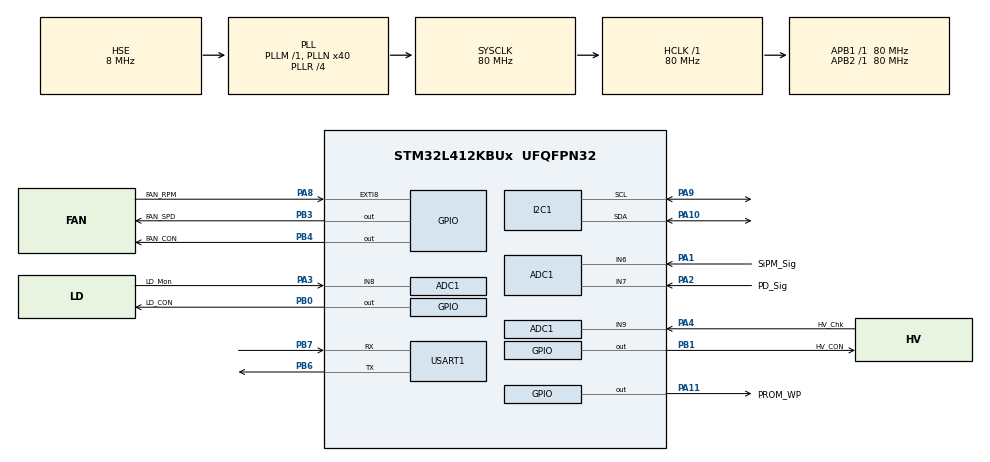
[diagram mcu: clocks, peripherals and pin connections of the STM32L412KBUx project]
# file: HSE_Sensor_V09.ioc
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ADC1.Channel-0\#ChannelRegularConversion=ADC_CHANNEL_6
ADC1.Channel-1\#ChannelRegularConversion=ADC_CHANNEL_7
ADC1.Channel-7\#ChannelRegularConversion=ADC_CHANNEL_8
ADC1.Channel-8\#ChannelRegularConversion=ADC_CHANNEL_9
ADC1.Channel-9\#ChannelRegularConversion=ADC_CHANNEL_TEMPSENSOR
ADC1.ClockPrescaler=ADC_CLOCK_ASYNC_DIV10
ADC1.ContinuousConvMode=ENABLE
ADC1.DMAContinuousRequests=ENABLE
ADC1.ExternalTrigConv=ADC_SOFTWARE_START
ADC1.NbrOfConversion=5
ADC1.NbrOfConversionFlag=1
ADC1.OffsetNumber-0\#ChannelRegularConversion=ADC_OFFSET_NONE
ADC1.OffsetNumber-1\#ChannelRegularConversion=ADC_OFFSET_NONE
ADC1.OffsetNumber-7\#ChannelRegularConversion=ADC_OFFSET_NONE
ADC1.OffsetNumber-8\#ChannelRegularConversion=ADC_OFFSET_NONE
ADC1.OffsetNumber-9\#ChannelRegularConversion=ADC_OFFSET_NONE
ADC1.Rank-0\#ChannelRegularConversion=1
ADC1.Rank-1\#ChannelRegularConversion=2
ADC1.Rank-7\#ChannelRegularConversion=3
ADC1.Rank-8\#ChannelRegularConversion=4
ADC1.Rank-9\#ChannelRegularConversion=5
ADC1.SamplingTime-0\#ChannelRegularConversion=ADC_SAMPLETIME_12CYCLES_5
ADC1.SamplingTime-1\#ChannelRegularConversion=ADC_SAMPLETIME_12CYCLES_5
ADC1.SamplingTime-7\#ChannelRegularConversion=ADC_SAMPLETIME_92CYCLES_5
ADC1.SamplingTime-8\#ChannelRegularConversion=ADC_SAMPLETIME_92CYCLES_5
ADC1.SamplingTime-9\#ChannelRegularConversion=ADC_SAMPLETIME_640CYCLES_5
ADC1.master=1
Dma.ADC1.0.Direction=DMA_PERIPH_TO_MEMORY
Dma.ADC1.0.Instance=DMA1_Channel1
Dma.ADC1.0.MemDataAlignment=DMA_MDATAALIGN_HALFWORD
Dma.ADC1.0.MemInc=DMA_MINC_ENABLE
Dma.ADC1.0.Mode=DMA_CIRCULAR
Dma.ADC1.0.PeriphDataAlignment=DMA_PDATAALIGN_HALFWORD
Dma.ADC1.0.PeriphInc=DMA_PINC_DISABLE
Dma.ADC1.0.Priority=DMA_PRIORITY_HIGH
Dma.Request0=ADC1
Dma.Request1=USART1_RX
Dma.USART1_RX.1.Direction=DMA_PERIPH_TO_MEMORY
Dma.USART1_RX.1.Instance=DMA1_Channel5
Dma.USART1_RX.1.MemDataAlignment=DMA_MDATAALIGN_BYTE
Dma.USART1_RX.1.MemInc=DMA_MINC_ENABLE
Dma.USART1_RX.1.Mode=DMA_CIRCULAR
Dma.USART1_RX.1.PeriphDataAlignment=DMA_PDATAALIGN_BYTE
Dma.USART1_RX.1.PeriphInc=DMA_PINC_DISABLE
Dma.USART1_RX.1.Priority=DMA_PRIORITY_LOW
I2C1.Timing=0x10D19CE4
Mcu.Family=STM32L4
Mcu.Name=STM32L412KBUx
Mcu.Package=UFQFPN32
NVIC.ADC1_2_IRQn=true\:0\:0\:false\:false\:true\:true\:true\:true
NVIC.DMA1_Channel1_IRQn=true\:0\:0\:false\:false\:true\:false\:true\:true
NVIC.DMA1_Channel5_IRQn=true\:0\:0\:false\:false\:true\:false\:true\:true
NVIC.EXTI9_5_IRQn=true\:0\:0\:false\:false\:true\:true\:true\:true
NVIC.PriorityGroup=NVIC_PRIORITYGROUP_4
NVIC.TIM2_IRQn=true\:0\:0\:false\:false\:true\:true\:true\:true
NVIC.USART1_IRQn=true\:0\:0\:false\:false\:true\:true\:true\:true
PA0-CK_IN.Mode=HSE-External-Clock-Source-for-LittleOrca
PA0-CK_IN.Signal=RCC_CK_IN
PA1.GPIO_Label=SiPM_Sig
PA1.Signal=ADCx_IN6
PA10.GPIO_Pu=GPIO_NOPULL
PA10.GPIO_Speed=GPIO_SPEED_FREQ_LOW
PA10.Mode=I2C
PA10.Signal=I2C1_SDA
PA11.GPIO_Label=PROM_WP
PA11.GPIO_PuPd=GPIO_PULLDOWN
PA11.Signal=GPIO_Output
PA13\ (JTMS/SWDIO).Mode=Serial_Wire
PA13\ (JTMS/SWDIO).Signal=SYS_JTMS-SWDIO
PA14\ (JTCK/SWCLK).Mode=Serial_Wire
PA14\ (JTCK/SWCLK).Signal=SYS_JTCK-SWCLK
PA2.GPIO_Label=PD_Sig
PA2.Signal=ADCx_IN7
PA3.GPIO_Label=LD_Mon
PA3.Signal=ADCx_IN8
PA4.GPIO_Label=HV_Chk
PA4.Signal=ADCx_IN9
PA8.GPIO_Label=FAN_RPM
PA8.GPIO_PuPd=GPIO_PULLUP
PA8.Signal=GPXTI8
PA9.GPIO_Pu=GPIO_NOPULL
PA9.GPIO_Speed=GPIO_SPEED_FREQ_LOW
PA9.Mode=I2C
PA9.Signal=I2C1_SCL
PB0.GPIO_Label=LD_CON
PB0.GPIO_PuPd=GPIO_PULLDOWN
PB0.Signal=GPIO_Output
PB1.GPIO_Label=HV_CON
PB1.GPIO_PuPd=GPIO_PULLDOWN
PB1.Signal=GPIO_Output
PB3\ (JTDO/TRACESWO).GPIO_Label=FAN_SPD
PB3\ (JTDO/TRACESWO).GPIO_PuPd=GPIO_PULLDOWN
PB3\ (JTDO/TRACESWO).Signal=GPIO_Output
PB4\ (NJTRST).GPIO_Label=FAN_CON
PB4\ (NJTRST).GPIO_PuPd=GPIO_PULLDOWN
PB4\ (NJTRST).Signal=GPIO_Output
PB6.GPIO_Speed=GPIO_SPEED_FREQ_MEDIUM
PB6.Mode=Asynchronous
PB6.Signal=USART1_TX
PB7.GPIO_Speed=GPIO_SPEED_FREQ_MEDIUM
PB7.Mode=Asynchronous
PB7.Signal=USART1_RX
ProjectManager.HeapSize=0x200
ProjectManager.StackSize=0x400
ProjectManager.TargetToolchain=STM32CubeIDE
RCC.ADCFreq_Value=80000000
RCC.AHBFreq_Value=80000000
RCC.APB1Freq_Value=80000000
RCC.APB1TimFreq_Value=80000000
RCC.APB2Freq_Value=80000000
RCC.APB2TimFreq_Value=80000000
RCC.CortexFreq_Value=80000000
RCC.HCLKFreq_Value=80000000
RCC.HSE_VALUE=8000000
RCC.HSI48_VALUE=48000000
RCC.HSI_VALUE=16000000
RCC.LSE_VALUE=32768
RCC.MSI_VALUE=4000000
RCC.PLLN=40
RCC.PLLR=RCC_PLLR_DIV4
RCC.PLLSourceVirtual=RCC_PLLSOURCE_HSE
RCC.SYSCLKFreq_VALUE=80000000
RCC.SYSCLKSource=RCC_SYSCLKSOURCE_PLLCLK
RCC.USBFreq_Value=4000000
RCC.VCOOutputFreq_Value=320000000
SH.ADCx_IN6.0=ADC1_IN6,IN6-Single-Ended
SH.ADCx_IN7.0=ADC1_IN7,IN7-Single-Ended
SH.ADCx_IN8.0=ADC1_IN8,IN8-Single-Ended
SH.ADCx_IN9.0=ADC1_IN9,IN9-Single-Ended
TIM2.AutoReloadPreload=TIM_AUTORELOAD_PRELOAD_DISABLE
TIM2.Period=100-1
TIM2.Prescaler=8000-1
TIM2.TIM_MasterOutputTrigger=TIM_TRGO_RESET
USART1.VirtualMode-Asynchronous=VM_ASYNC
VP_ADC1_TempSens_Input.Mode=IN-TempSens
VP_ADC1_Vref_Input.Mode=IN-Vrefint
VP_TIM2_VS_ClockSourceINT.Mode=Internal
board=custom

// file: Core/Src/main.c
/* USER CODE BEGIN Header */
/**
  ******************************************************************************
  * @file           : main.c
  * @brief          : Main program body
  ******************************************************************************
  * @attention
  *
  * Copyright (c) 2025 STMicroelectronics.
  * All rights reserved.
  *
  * This software is licensed under terms that can be found in the LICENSE file
  * in the root directory of this software component.
  * If no LICENSE file comes with this software, it is provided AS-IS.
  *
  ******************************************************************************
  */
/* USER CODE END Header */
#include "main.h"

/* USER CODE BEGIN Includes */
#include "Ext_IO.h"

#include "Const.h"
#include "G_Value.h"
#include "Config.h"
#include "Parameter.h"

#include "Uart.h"
#include "Fan.h"

#include "Process.h"
/* USER CODE END Includes */

/* USER CODE BEGIN PD */
volatile uint16_t Adc_Temp[16];
/* USER CODE END PD */

ADC_HandleTypeDef hadc1;
DMA_HandleTypeDef hdma_adc1;

I2C_HandleTypeDef hi2c1;

TIM_HandleTypeDef htim2;

UART_HandleTypeDef huart1;
DMA_HandleTypeDef hdma_usart1_rx;

/* USER CODE BEGIN PV */
uint8_t FlagFirmwareWROn = OFF;

/* USER CODE END PV */

void SystemClock_Config(void);
static void MX_GPIO_Init(void);
static void MX_DMA_Init(void);
static void MX_I2C1_Init(void);
static void MX_ADC1_Init(void);
static void MX_USART1_UART_Init(void);
static void MX_TIM2_Init(void);

/* USER CODE BEGIN 0 */
void HAL_GPIO_EXTI_Callback(uint16_t GPIO_Pin)
{
	if(GPIO_Pin == FAN_RPM_Pin)
	{
		tFan.RpmCurrCnt++;
	}
}

void HAL_UARTEx_RxEventCallback(UART_HandleTypeDef *huart, uint16_t Size)
{
	if (huart->Instance == USART1)
	{
/*
		tUartMsg.uOldPos = tUartMsg.uNewPos;

		if (tUartMsg.uOldPos+Size > MAX_RX_RING_BUFF_SIZE)
		{
			uint8_t DataToCopy = MAX_RX_BUFF_SIZE-tUartMsg.uOldPos;
			memcpy ((uint8_t *)tUartMsg.RingRxTemp + tUartMsg.uOldPos, tUartMsg.RxTemp, DataToCopy);

			tUartMsg.uOldPos  = 0;
			memcpy ((uint8_t *)tUartMsg.RingRxTemp, (uint8_t *)tUartMsg.RxTemp + DataToCopy, (Size - DataToCopy));
			tUartMsg.uNewPos = (Size - DataToCopy);
		}

		else
		{
			memcpy ((uint8_t *)tUartMsg.RingRxTemp + tUartMsg.uOldPos, tUartMsg.RxTemp, Size);
			tUartMsg.uNewPos = Size + tUartMsg.uOldPos;
		}
*/
		//memset(tUartMsg.RingRxTemp, 0, sizeof(tUartMsg.RingRxTemp));
		//tUartMsg.uOldPos = 0;
		//tUartMsg.uNewPos = 0;
		/* start the DMA again */
//		HAL_UARTEx_ReceiveToIdle_IT(&huart1, (uint8_t *)tUartMsg.RxTemp, MAX_RX_BUFF_SIZE);
//		__HAL_DMA_ENABLE_IT(&hdma_usart1_rx, DMA_IT_HT);

		memcpy ((uint8_t *)tUartMsg.RxTemp, (uint8_t *)tUartMsg.RingRxTemp, Size);

		tUartMsg.FlagMsgRcvOn = ON;
		tUartMsg.RxTempCnt = Size;

		memset(tUartMsg.RingRxTemp, 0, sizeof(tUartMsg.RingRxTemp));

		HAL_UART_DMAStop(&huart1);
        HAL_UARTEx_ReceiveToIdle_DMA(&huart1, (uint8_t *) tUartMsg.RingRxTemp, MAX_RX_BUFF_SIZE);
       __HAL_DMA_DISABLE_IT(&hdma_usart1_rx, DMA_IT_HT);
	}
}

void HAL_ADC_ConvCpltCallback(ADC_HandleTypeDef *hadc)
{

	if(ON == tSysState.FlagGetAdcOn)
	{

		tSiPmCtrl.CurrAdcVal 	= (uint16_t)(Adc_Temp[0]);
		tPdCtrl.CurrAdcVal  	= (uint16_t)(Adc_Temp[1]);
		tLdCtrl.CurrAdcVal 		= (uint16_t)(Adc_Temp[2]);
		tHvCtrl.CurrAdcVal 		= (uint16_t)(Adc_Temp[3]);

		tPdCtrl.ChkCount++;

		//HAL_ADC_Start_DMA(&hadc1, Adc_Temp, 5);
	}

	tSysState.Temp			= (uint16_t)(Adc_Temp[4]);

}

void UART_Transmit_Proc(UART_HandleTypeDef* hUart)
{
	if(ON == tMsgPkt.FlagTxPktOn)
	{
		HAL_UART_Transmit(hUart, tUartMsg.RingTxTemp, tUartMsg.TxTempCnt,100);
		UART_TxInit();
	}
}

void HAL_TIM_PeriodElapsedCallback(TIM_HandleTypeDef *htim)
{
	if(htim->Instance == TIM2)
	{
		tSysTime.FlagSysTickOn = ON;
	}
}

/* USER CODE END 0 */

int main(void)
{

  /* MCU Configuration--------------------------------------------------------*/

  /* Reset of all peripherals, Initializes the Flash interface and the Systick. */
  HAL_Init();

  /* USER CODE BEGIN Init */
  memset(Adc_Temp, 0, sizeof(Adc_Temp));
  /* USER CODE END Init */

  /* Configure the system clock */
  SystemClock_Config();

  /* USER CODE BEGIN SysInit */
  PROC_Init();
  EXT_Init();
  FAN_Init();
  UART_Init();
  /* USER CODE END SysInit */

  /* Initialize all configured peripherals */
  MX_GPIO_Init();
  MX_DMA_Init();
  MX_I2C1_Init();
  MX_ADC1_Init();
  MX_USART1_UART_Init();
  MX_TIM2_Init();
  /* USER CODE BEGIN 2 */

  PARAM_Init(&hi2c1);
  PARAM_Process();

  HAL_UARTEx_ReceiveToIdle_DMA(&huart1, (uint8_t*)tUartMsg.RingRxTemp, MAX_RX_BUFF_SIZE);
  __HAL_DMA_DISABLE_IT(&hdma_usart1_rx, DMA_IT_HT);
  HAL_TIM_Base_Start_IT(&htim2);

/*
  uint8_t temp[32] = "Hello World!";
  memcpy(tUartMsg.RingTxTemp, temp, 13);
  tUartMsg.TxTempCnt = 13;
  tMsgPkt.FlagTxPktOn = ON;
*/

  /* USER CODE END 2 */

  /* Infinite loop */
  /* USER CODE BEGIN WHILE */
  while (1)
  {
	 SYSTEM_Process();
	 UART_Transmit_Proc(&huart1);
    /* USER CODE END WHILE */

  }
}

void SystemClock_Config(void)
{
  RCC_OscInitTypeDef RCC_OscInitStruct = {0};
  RCC_ClkInitTypeDef RCC_ClkInitStruct = {0};

  /** Configure the main internal regulator output voltage
  */
  if (HAL_PWREx_ControlVoltageScaling(PWR_REGULATOR_VOLTAGE_SCALE1) != HAL_OK)
  {
    Error_Handler();
  }

  /** Initializes the RCC Oscillators according to the specified parameters
  * in the RCC_OscInitTypeDef structure.
  */
  RCC_OscInitStruct.OscillatorType = RCC_OSCILLATORTYPE_HSE;
  RCC_OscInitStruct.HSEState = RCC_HSE_BYPASS;
  RCC_OscInitStruct.PLL.PLLState = RCC_PLL_ON;
  RCC_OscInitStruct.PLL.PLLSource = RCC_PLLSOURCE_HSE;
  RCC_OscInitStruct.PLL.PLLM = 1;
  RCC_OscInitStruct.PLL.PLLN = 40;
  RCC_OscInitStruct.PLL.PLLQ = RCC_PLLQ_DIV2;
  RCC_OscInitStruct.PLL.PLLR = RCC_PLLR_DIV4;
  if (HAL_RCC_OscConfig(&RCC_OscInitStruct) != HAL_OK)
  {
    Error_Handler();
  }

  /** Initializes the CPU, AHB and APB buses clocks
  */
  RCC_ClkInitStruct.ClockType = RCC_CLOCKTYPE_HCLK|RCC_CLOCKTYPE_SYSCLK
                              |RCC_CLOCKTYPE_PCLK1|RCC_CLOCKTYPE_PCLK2;
  RCC_ClkInitStruct.SYSCLKSource = RCC_SYSCLKSOURCE_PLLCLK;
  RCC_ClkInitStruct.AHBCLKDivider = RCC_SYSCLK_DIV1;
  RCC_ClkInitStruct.APB1CLKDivider = RCC_HCLK_DIV1;
  RCC_ClkInitStruct.APB2CLKDivider = RCC_HCLK_DIV1;

  if (HAL_RCC_ClockConfig(&RCC_ClkInitStruct, FLASH_LATENCY_4) != HAL_OK)
  {
    Error_Handler();
  }
}

static void MX_ADC1_Init(void)
{

  ADC_MultiModeTypeDef multimode = {0};
  ADC_ChannelConfTypeDef sConfig = {0};

  /** Common config
  */
  hadc1.Instance = ADC1;
  hadc1.Init.ClockPrescaler = ADC_CLOCK_ASYNC_DIV10;
  hadc1.Init.Resolution = ADC_RESOLUTION_12B;
  hadc1.Init.DataAlign = ADC_DATAALIGN_RIGHT;
  hadc1.Init.ScanConvMode = ADC_SCAN_ENABLE;
  hadc1.Init.EOCSelection = ADC_EOC_SINGLE_CONV;
  hadc1.Init.LowPowerAutoWait = DISABLE;
  hadc1.Init.ContinuousConvMode = ENABLE;
  hadc1.Init.NbrOfConversion = 5;
  hadc1.Init.DiscontinuousConvMode = DISABLE;
  hadc1.Init.ExternalTrigConv = ADC_SOFTWARE_START;
  hadc1.Init.ExternalTrigConvEdge = ADC_EXTERNALTRIGCONVEDGE_NONE;
  hadc1.Init.DMAContinuousRequests = ENABLE;
  hadc1.Init.Overrun = ADC_OVR_DATA_PRESERVED;
  hadc1.Init.OversamplingMode = DISABLE;
  if (HAL_ADC_Init(&hadc1) != HAL_OK)
  {
    Error_Handler();
  }

  /** Configure the ADC multi-mode
  */
  multimode.Mode = ADC_MODE_INDEPENDENT;
  if (HAL_ADCEx_MultiModeConfigChannel(&hadc1, &multimode) != HAL_OK)
  {
    Error_Handler();
  }

  /** Configure Regular Channel
  */
  sConfig.Channel = ADC_CHANNEL_6;
  sConfig.Rank = ADC_REGULAR_RANK_1;
  sConfig.SamplingTime = ADC_SAMPLETIME_12CYCLES_5;
  sConfig.SingleDiff = ADC_SINGLE_ENDED;
  sConfig.OffsetNumber = ADC_OFFSET_NONE;
  sConfig.Offset = 0;
  if (HAL_ADC_ConfigChannel(&hadc1, &sConfig) != HAL_OK)
  {
    Error_Handler();
  }

  /** Configure Regular Channel
  */
  sConfig.Channel = ADC_CHANNEL_7;
  sConfig.Rank = ADC_REGULAR_RANK_2;
  if (HAL_ADC_ConfigChannel(&hadc1, &sConfig) != HAL_OK)
  {
    Error_Handler();
  }

  /** Configure Regular Channel
  */
  sConfig.Channel = ADC_CHANNEL_8;
  sConfig.Rank = ADC_REGULAR_RANK_3;
  sConfig.SamplingTime = ADC_SAMPLETIME_92CYCLES_5;
  if (HAL_ADC_ConfigChannel(&hadc1, &sConfig) != HAL_OK)
  {
    Error_Handler();
  }

  /** Configure Regular Channel
  */
  sConfig.Channel = ADC_CHANNEL_9;
  sConfig.Rank = ADC_REGULAR_RANK_4;
  if (HAL_ADC_ConfigChannel(&hadc1, &sConfig) != HAL_OK)
  {
    Error_Handler();
  }

  /** Configure Regular Channel
  */
  sConfig.Channel = ADC_CHANNEL_TEMPSENSOR;
  sConfig.Rank = ADC_REGULAR_RANK_5;
  sConfig.SamplingTime = ADC_SAMPLETIME_640CYCLES_5;
  if (HAL_ADC_ConfigChannel(&hadc1, &sConfig) != HAL_OK)
  {
    Error_Handler();
  }
  /* USER CODE BEGIN ADC1_Init 2 */
  HAL_ADCEx_Calibration_Start(&hadc1, ADC_SINGLE_ENDED);
  HAL_ADC_Start_DMA(&hadc1, Adc_Temp, 5);
  /* USER CODE END ADC1_Init 2 */

}

static void MX_I2C1_Init(void)
{

  hi2c1.Instance = I2C1;
  hi2c1.Init.Timing = 0x10D19CE4;
  hi2c1.Init.OwnAddress1 = 0;
  hi2c1.Init.AddressingMode = I2C_ADDRESSINGMODE_7BIT;
  hi2c1.Init.DualAddressMode = I2C_DUALADDRESS_DISABLE;
  hi2c1.Init.OwnAddress2 = 0;
  hi2c1.Init.OwnAddress2Masks = I2C_OA2_NOMASK;
  hi2c1.Init.GeneralCallMode = I2C_GENERALCALL_DISABLE;
  hi2c1.Init.NoStretchMode = I2C_NOSTRETCH_DISABLE;
  if (HAL_I2C_Init(&hi2c1) != HAL_OK)
  {
    Error_Handler();
  }

  /** Configure Analogue filter
  */
  if (HAL_I2CEx_ConfigAnalogFilter(&hi2c1, I2C_ANALOGFILTER_ENABLE) != HAL_OK)
  {
    Error_Handler();
  }

  /** Configure Digital filter
  */
  if (HAL_I2CEx_ConfigDigitalFilter(&hi2c1, 0) != HAL_OK)
  {
    Error_Handler();
  }

}

static void MX_TIM2_Init(void)
{

  TIM_ClockConfigTypeDef sClockSourceConfig = {0};
  TIM_MasterConfigTypeDef sMasterConfig = {0};

  htim2.Instance = TIM2;
  htim2.Init.Prescaler = 8000-1;
  htim2.Init.CounterMode = TIM_COUNTERMODE_UP;
  htim2.Init.Period = 100-1;
  htim2.Init.ClockDivision = TIM_CLOCKDIVISION_DIV1;
  htim2.Init.AutoReloadPreload = TIM_AUTORELOAD_PRELOAD_DISABLE;
  if (HAL_TIM_Base_Init(&htim2) != HAL_OK)
  {
    Error_Handler();
  }
  sClockSourceConfig.ClockSource = TIM_CLOCKSOURCE_INTERNAL;
  if (HAL_TIM_ConfigClockSource(&htim2, &sClockSourceConfig) != HAL_OK)
  {
    Error_Handler();
  }
  sMasterConfig.MasterOutputTrigger = TIM_TRGO_RESET;
  sMasterConfig.MasterSlaveMode = TIM_MASTERSLAVEMODE_DISABLE;
  if (HAL_TIMEx_MasterConfigSynchronization(&htim2, &sMasterConfig) != HAL_OK)
  {
    Error_Handler();
  }

}

static void MX_USART1_UART_Init(void)
{

  huart1.Instance = USART1;
  huart1.Init.BaudRate = 115200;
  huart1.Init.WordLength = UART_WORDLENGTH_8B;
  huart1.Init.StopBits = UART_STOPBITS_1;
  huart1.Init.Parity = UART_PARITY_NONE;
  huart1.Init.Mode = UART_MODE_TX_RX;
  huart1.Init.HwFlowCtl = UART_HWCONTROL_NONE;
  huart1.Init.OverSampling = UART_OVERSAMPLING_16;
  huart1.Init.OneBitSampling = UART_ONE_BIT_SAMPLE_DISABLE;
  huart1.AdvancedInit.AdvFeatureInit = UART_ADVFEATURE_NO_INIT;
  if (HAL_UART_Init(&huart1) != HAL_OK)
  {
    Error_Handler();
  }

}

static void MX_DMA_Init(void)
{

  /* DMA controller clock enable */
  __HAL_RCC_DMA1_CLK_ENABLE();

  /* DMA interrupt init */
  /* DMA1_Channel1_IRQn interrupt configuration */
  HAL_NVIC_SetPriority(DMA1_Channel1_IRQn, 0, 0);
  HAL_NVIC_EnableIRQ(DMA1_Channel1_IRQn);
  /* DMA1_Channel5_IRQn interrupt configuration */
  HAL_NVIC_SetPriority(DMA1_Channel5_IRQn, 0, 0);
  HAL_NVIC_EnableIRQ(DMA1_Channel5_IRQn);

}

static void MX_GPIO_Init(void)
{
  GPIO_InitTypeDef GPIO_InitStruct = {0};

  /* GPIO Ports Clock Enable */
  __HAL_RCC_GPIOA_CLK_ENABLE();
  __HAL_RCC_GPIOB_CLK_ENABLE();

  /*Configure GPIO pin Output Level */
  HAL_GPIO_WritePin(GPIOB, LD_CON_Pin|HV_CON_Pin|FAN_SPD_Pin|FAN_CON_Pin, GPIO_PIN_RESET);

  /*Configure GPIO pin Output Level */
  HAL_GPIO_WritePin(PROM_WP_GPIO_Port, PROM_WP_Pin, GPIO_PIN_RESET);

  /*Configure GPIO pins : LD_CON_Pin HV_CON_Pin FAN_SPD_Pin FAN_CON_Pin */
  GPIO_InitStruct.Pin = LD_CON_Pin|HV_CON_Pin|FAN_SPD_Pin|FAN_CON_Pin;
  GPIO_InitStruct.Mode = GPIO_MODE_OUTPUT_PP;
  GPIO_InitStruct.Pull = GPIO_PULLDOWN;
  GPIO_InitStruct.Speed = GPIO_SPEED_FREQ_LOW;
  HAL_GPIO_Init(GPIOB, &GPIO_InitStruct);

  /*Configure GPIO pin : FAN_RPM_Pin */
  GPIO_InitStruct.Pin = FAN_RPM_Pin;
  GPIO_InitStruct.Mode = GPIO_MODE_IT_RISING;
  GPIO_InitStruct.Pull = GPIO_PULLUP;
  HAL_GPIO_Init(FAN_RPM_GPIO_Port, &GPIO_InitStruct);

  /*Configure GPIO pin : PROM_WP_Pin */
  GPIO_InitStruct.Pin = PROM_WP_Pin;
  GPIO_InitStruct.Mode = GPIO_MODE_OUTPUT_PP;
  GPIO_InitStruct.Pull = GPIO_PULLDOWN;
  GPIO_InitStruct.Speed = GPIO_SPEED_FREQ_LOW;
  HAL_GPIO_Init(PROM_WP_GPIO_Port, &GPIO_InitStruct);

  /* EXTI interrupt init*/
  HAL_NVIC_SetPriority(EXTI9_5_IRQn, 0, 0);
  HAL_NVIC_EnableIRQ(EXTI9_5_IRQn);

}

void Error_Handler(void)
{
  __disable_irq();
  while (1)
  {
  }
}
